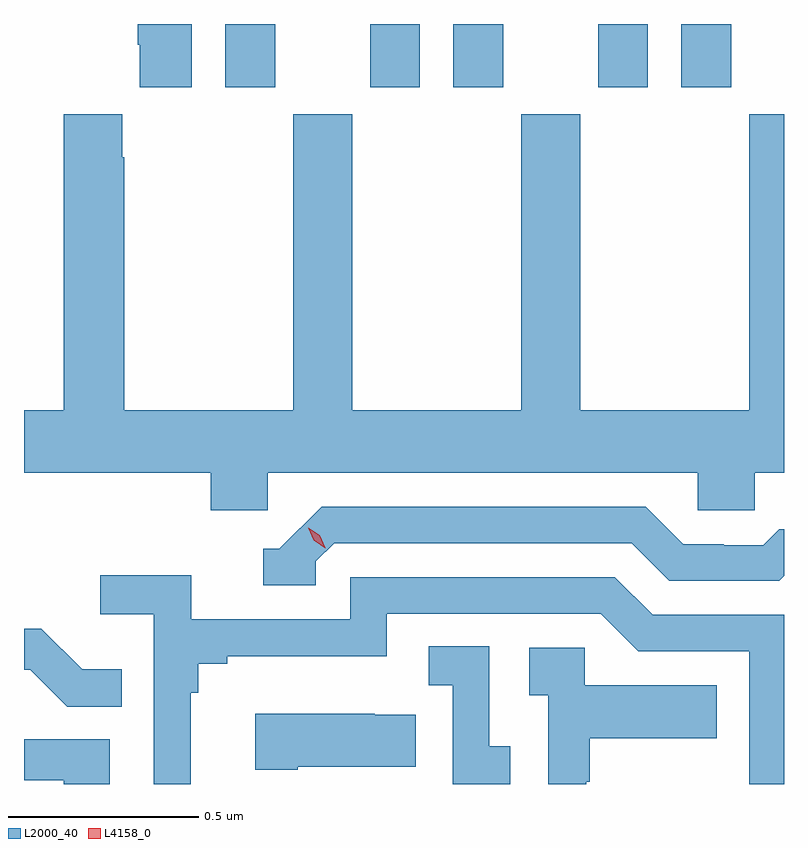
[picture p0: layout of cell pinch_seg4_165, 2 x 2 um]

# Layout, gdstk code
import gdstk
lib = gdstk.Library(unit=1e-6, precision=1e-09)
def R(c, l, rs):  # rectangles x0, y0, x1, y1
    for r in rs: c.add(gdstk.rectangle(r[:2], r[2:], *l))
def P(c, l, *ps):  # polygons
    for p in ps: c.add(gdstk.Polygon(p, *l))
L2000_40 = (2000, 40)
L4158_0 = (4158, 0)

pinch_seg4_165 = lib.new_cell('pinch_seg4_165')
R(pinch_seg4_165, L2000_40, [(1115.726,797.835,1115.857,798.001), (1116.107,797.835,1116.238,798.001), (1116.326,797.835,1116.457,798.001), (1116.707,797.835,1116.838,798.001), (1116.926,797.835,1117.057,798.001)])
P(pinch_seg4_165, L2000_40, [(1115.638,798.001),(1115.495,798.001),(1115.495,797.947),(1115.501,797.947),(1115.501,797.835),(1115.638,797.835)],
  [(1115.838,796.82),(1116.969,796.82),(1116.969,796.722),(1117.119,796.722),(1117.119,796.82),(1117.196,796.82),(1117.196,797.764),(1117.105,797.764),(1117.105,796.984),(1116.66,796.984),(1116.66,797.764),(1116.505,797.764),(1116.505,796.984),(1116.06,796.984),(1116.06,797.764),(1115.905,797.764),(1115.905,796.984),(1115.46,796.984),(1115.46,797.651),(1115.455,797.651),(1115.455,797.764),(1115.3,797.764),(1115.3,796.984),(1115.196,796.984),(1115.196,796.82),(1115.687,796.82),(1115.687,796.722),(1115.838,796.722)],
  [(1115.964,796.587),(1116.012,796.635),(1116.795,796.635),(1116.894,796.536),(1117.183,796.536),(1117.196,796.549),(1117.196,796.672),(1117.183,796.672),(1117.141,796.629),(1117.038,796.629),(1117.038,796.632),(1116.931,796.632),(1116.832,796.731),(1115.979,796.731),(1115.868,796.62),(1115.825,796.62),(1115.825,796.524),(1115.964,796.524)],
  [(1115.635,796.241),(1115.654,796.241),(1115.654,796.318),(1115.731,796.318),(1115.731,796.337),(1116.15,796.337),(1116.15,796.449),(1116.714,796.449),(1116.813,796.35),(1117.104,796.35),(1117.104,796.001),(1117.196,796.001),(1117.196,796.446),(1116.85,796.446),(1116.751,796.545),(1116.054,796.545),(1116.054,796.434),(1115.636,796.434),(1115.636,796.55),(1115.397,796.55),(1115.397,796.448),(1115.538,796.448),(1115.538,796.001),(1115.635,796.001)],
  [(1115.453,796.303),(1115.349,796.303),(1115.242,796.41),(1115.196,796.41),(1115.196,796.302),(1115.212,796.302),(1115.31,796.204),(1115.453,796.204)],
  [(1116.475,796.101),(1116.42,796.101),(1116.42,796.364),(1116.261,796.364),(1116.261,796.261),(1116.324,796.261),(1116.324,796.001),(1116.475,796.001)],
  [(1116.675,796.007),(1116.685,796.007),(1116.685,796.121),(1117.019,796.121),(1117.019,796.261),(1116.672,796.261),(1116.672,796.359),(1116.525,796.359),(1116.525,796.235),(1116.576,796.235),(1116.576,796.001),(1116.675,796.001)],
  [(1115.917,796.046),(1116.227,796.046),(1116.227,796.183),(1116.119,796.183),(1116.119,796.186),(1115.805,796.186),(1115.805,796.039),(1115.917,796.039)],
  [(1115.422,796.119),(1115.196,796.119),(1115.196,796.023),(1115.197,796.023),(1115.197,796.011),(1115.3,796.011),(1115.3,796.001),(1115.422,796.001)])
P(pinch_seg4_165, L4158_0, [(1115.989,796.622),(1115.959,796.642),(1115.944,796.675),(1115.944,796.675),(1115.944,796.675),(1115.974,796.655),(1115.989,796.623),(1115.989,796.622)])

lib.write_gds('pinch_seg4_165.gds')
